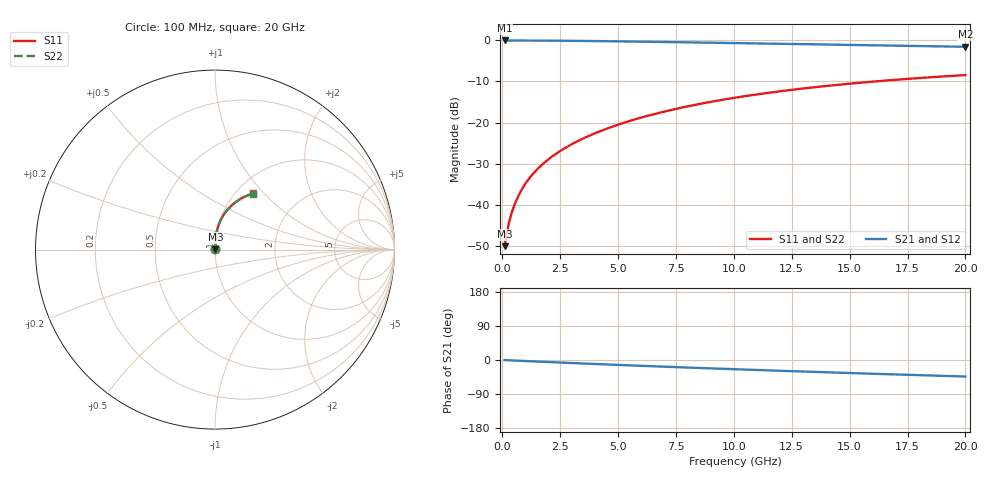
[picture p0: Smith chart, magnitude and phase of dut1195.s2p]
! Touchstone file exported from HFSS 2024.1.0
!  File:  C:/UserFiles/LocalFiles/RDL_TSV_Batchsim/temp_RDL_top_1195_1780049771.aedt
!  Generated:  06:18:23 PM May 29, 2026
!  Design:  RDL_top
!  Project:  temp_RDL_top_1195_1780049771
!  Setup:  Setup1
!  Solution:  Sweep
! Variables:
!  dtsv = 10.80580581um
!  hbump = 3um
!  htsv = 82.11um
!  ldown = 100um
!  lrdl = 608.96um
!  p = 40
!  p1 = 56.99um
!  rhole = 1um
!  t = 450um
!  tdown = 3.915915916um
!  trdl = 3.84um
!  wdown = 15.38538539um
!  wrdl = 25.12um
# GHz S MA R 50.000000
! Terminal data exported
! Port[1] = Box2_T1
! Port[2] = Box2_T2
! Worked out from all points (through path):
!   200 points, 100 MHz to 20 GHz, reference 50 ohm
!   highest |S21| = -0.02 dB at 100 MHz (marker M1); lowest = -1.6 dB at 20 GHz (marker M2)
!   group delay of S21, straight-line fit = 6 ps
!   lowest |S11| = -50.0 dB at 100 MHz (marker M3), VSWR 1.01, Z = 50.2 + j0.198 ohm
!   |S11| at or under -10 dB: start of sweep to 16.07 GHz
!   |S22| runs from -50.0 to -8.4 dB; largest |S21 - S12| = 2.6e-15
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0.1  0.003145 38.9  0.9975 -0.3  0.9975 -0.3  0.003145 38.9
! Gamma 0 0 0 0
! Port Impedance 50 0 50 0
0.2  0.004642 55.9  0.9974 -0.6  0.9974 -0.6  0.004642 55.9
0.3  0.006262 64.1  0.9972 -0.8  0.9972 -0.8  0.006262 64.1
0.4  0.007904 68.9  0.997 -1.1  0.997 -1.1  0.007905 68.9
0.5  0.009564 72.3  0.9968 -1.4  0.9968 -1.4  0.009564 72.3
0.6  0.01124 74.7  0.9966 -1.6  0.9966 -1.6  0.01124 74.7
0.8  0.01465 78.1  0.9962 -2.2  0.9962 -2.2  0.01465 78.1
1.1  0.01985 81.0  0.9955 -3.0  0.9955 -3.0  0.01985 81.0
1.5  0.02692 83.2  0.9943 -4.0  0.9943 -4.0  0.02692 83.2
1.8  0.03231 84.2  0.9932 -4.8  0.9932 -4.8  0.03231 84.2
2.1  0.03777 84.8  0.9919 -5.6  0.9919 -5.6  0.03777 84.8
2.7  0.04892 85.5  0.9888 -7.2  0.9888 -7.2  0.04892 85.5
3.5  0.06425 85.7  0.9839 -9.3  0.9839 -9.3  0.06424 85.7
4.2  0.07808 85.4  0.9789 -11.0  0.9789 -11.0  0.07806 85.4
5  0.09432 84.7  0.9726 -13.0  0.9726 -13.0  0.09429 84.7
6.8  0.132 82.2  0.9571 -17.2  0.9571 -17.2  0.132 82.1
8.4  0.1661 79.2  0.9425 -20.8  0.9425 -20.8  0.166 79.2
10.1  0.2019 75.8  0.9267 -24.5  0.9267 -24.5  0.2017 75.7
11.7  0.2346 72.4  0.9117 -27.8  0.9117 -27.8  0.2344 72.4
13.4  0.2678 68.8  0.8959 -31.3  0.8959 -31.3  0.2676 68.8
16.7  0.327 62.0  0.8653 -37.6  0.8653 -37.6  0.3267 62.0
20  0.3786 55.7  0.8353 -43.7  0.8353 -43.7  0.3783 55.6
